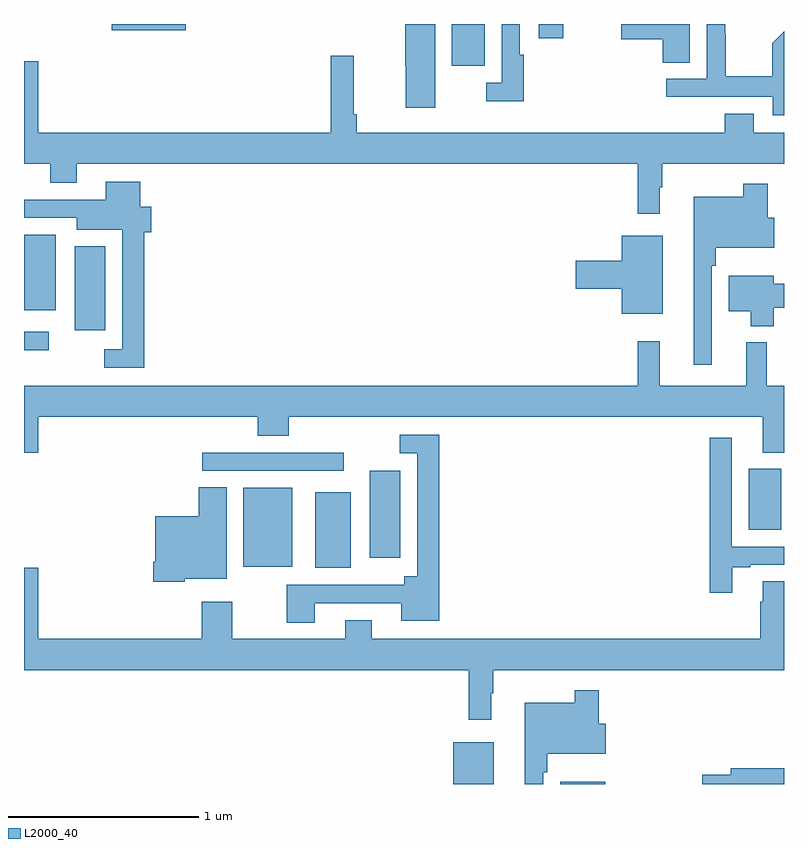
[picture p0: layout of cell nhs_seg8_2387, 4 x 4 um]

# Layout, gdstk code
import gdstk
lib = gdstk.Library(unit=1e-6, precision=1e-09)
def R(c, l, rs):  # rectangles x0, y0, x1, y1
    for r in rs: c.add(gdstk.rectangle(r[:2], r[2:], *l))
def P(c, l, *ps):  # polygons
    for p in ps: c.add(gdstk.Polygon(p, *l))
L2000_40 = (2000, 40)

nhs_seg8_2387 = lib.new_cell('nhs_seg8_2387')
R(nhs_seg8_2387, L2000_40, [(263.258,1115.9,263.473,1116.121), (263.822,1115.9,264.058,1115.911), (262.532,1117.037,262.72,1117.435), (262.154,1117.043,262.411,1117.459), (262.82,1117.092,262.981,1117.549), (264.815,1117.238,264.985,1117.558), (261.939,1117.548,262.684,1117.644), (261,1118.184,261.13,1118.28), (261.266,1118.289,261.427,1118.731), (261,1118.393,261.166,1118.791), (263.252,1119.68,263.425,1119.9), (263.708,1119.825,263.838,1119.9), (261.462,1119.866,261.85,1119.9)])
P(nhs_seg8_2387, L2000_40, [(265,1119.862),(264.937,1119.799),(264.937,1119.625),(264.693,1119.625),(264.693,1119.848),(264.69,1119.848),(264.69,1119.9),(264.594,1119.9),(264.594,1119.612),(264.381,1119.612),(264.381,1119.516),(264.942,1119.516),(264.942,1119.419),(265,1119.419)],
  [(263.63,1119.737),(263.61,1119.737),(263.61,1119.9),(263.514,1119.9),(263.514,1119.591),(263.433,1119.591),(263.433,1119.494),(263.63,1119.494)],
  [(263.164,1119.9),(263.006,1119.9),(263.006,1119.684),(263.009,1119.684),(263.009,1119.459),(263.164,1119.459)],
  [(264.505,1119.9),(264.144,1119.9),(264.144,1119.821),(264.362,1119.821),(264.362,1119.697),(264.505,1119.697)],
  [(262.615,1119.733),(262.615,1119.328),(261.076,1119.328),(261.076,1119.703),(261,1119.703),(261,1119.164),(261.137,1119.164),(261.137,1119.065),(261.277,1119.065),(261.277,1119.164),(264.229,1119.164),(264.229,1118.901),(264.346,1118.901),(264.346,1119.041),(264.358,1119.041),(264.358,1119.164),(265,1119.164),(265,1119.328),(264.841,1119.328),(264.841,1119.427),(264.689,1119.427),(264.689,1119.328),(262.751,1119.328),(262.751,1119.424),(262.736,1119.424),(262.736,1119.733)],
  [(261.632,1118.804),(261.671,1118.804),(261.671,1118.938),(261.613,1118.938),(261.613,1119.07),(261.431,1119.07),(261.431,1118.976),(261,1118.976),(261,1118.88),(261.278,1118.88),(261.278,1118.816),(261.516,1118.816),(261.516,1118.187),(261.423,1118.187),(261.423,1118.091),(261.632,1118.091)],
  [(264.621,1118.627),(264.641,1118.627),(264.641,1118.723),(264.949,1118.723),(264.949,1118.881),(264.914,1118.881),(264.914,1119.058),(264.786,1119.058),(264.786,1118.992),(264.524,1118.992),(264.524,1118.106),(264.621,1118.106)],
  [(264.361,1118.785),(264.146,1118.785),(264.146,1118.654),(263.904,1118.654),(263.904,1118.507),(264.146,1118.507),(264.146,1118.375),(264.361,1118.375)],
  [(264.946,1118.406),(265,1118.406),(265,1118.534),(264.946,1118.534),(264.946,1118.575),(264.71,1118.575),(264.71,1118.387),(264.824,1118.387),(264.824,1118.309),(264.946,1118.309)],
  [(265,1117.996),(264.91,1117.996),(264.91,1118.224),(264.8,1118.224),(264.8,1117.996),(264.347,1117.996),(264.347,1118.23),(264.229,1118.23),(264.229,1117.996),(261,1117.996),(261,1117.644),(261.076,1117.644),(261.076,1117.832),(262.229,1117.832),(262.229,1117.733),(262.394,1117.733),(262.394,1117.832),(264.887,1117.832),(264.887,1117.643),(265,1117.643)],
  [(262.531,1116.852),(262.985,1116.852),(262.985,1116.758),(263.186,1116.758),(263.186,1117.737),(262.977,1117.737),(262.977,1117.641),(263.07,1117.641),(263.07,1116.994),(263,1116.994),(263,1116.948),(262.384,1116.948),(262.384,1116.75),(262.531,1116.75)],
  [(264.727,1117.041),(264.823,1117.041),(264.823,1117.053),(265,1117.053),(265,1117.149),(264.726,1117.149),(264.726,1117.723),(264.61,1117.723),(264.61,1116.906),(264.727,1116.906)],
  [(261.846,1116.98),(262.066,1116.98),(262.066,1117.463),(261.92,1117.463),(261.92,1117.309),(261.692,1117.309),(261.692,1117.069),(261.68,1117.069),(261.68,1116.965),(261.846,1116.965)],
  [(263.458,1116.377),(263.47,1116.377),(263.47,1116.5),(265,1116.5),(265,1116.968),(264.887,1116.968),(264.887,1116.86),(264.875,1116.86),(264.875,1116.664),(262.831,1116.664),(262.831,1116.763),(262.691,1116.763),(262.691,1116.664),(262.095,1116.664),(262.095,1116.859),(261.935,1116.859),(261.935,1116.664),(261.076,1116.664),(261.076,1117.039),(261,1117.039),(261,1116.5),(263.341,1116.5),(263.341,1116.237),(263.458,1116.237)],
  [(263.733,1115.963),(263.753,1115.963),(263.753,1116.059),(264.061,1116.059),(264.061,1116.217),(264.026,1116.217),(264.026,1116.394),(263.898,1116.394),(263.898,1116.328),(263.636,1116.328),(263.636,1115.9),(263.733,1115.9)],
  [(265,1115.984),(264.719,1115.984),(264.719,1115.948),(264.57,1115.948),(264.57,1115.9),(265,1115.9)])

lib.write_gds('nhs_seg8_2387.gds')
